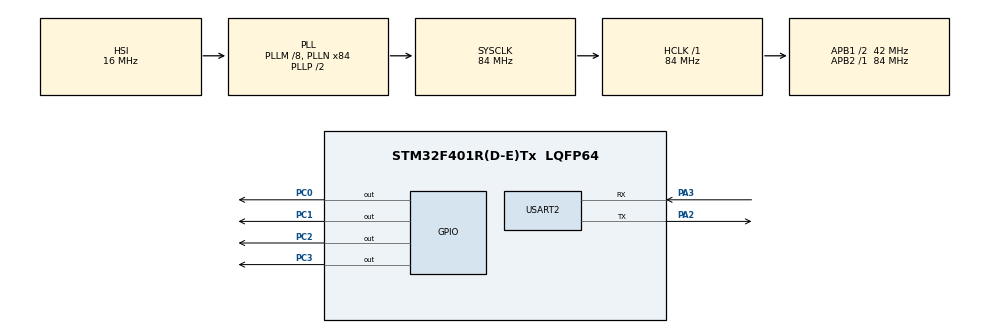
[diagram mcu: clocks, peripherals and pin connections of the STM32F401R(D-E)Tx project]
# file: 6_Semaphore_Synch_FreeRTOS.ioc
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Mcu.Family=STM32F4
Mcu.Name=STM32F401R(D-E)Tx
Mcu.Package=LQFP64
NVIC.PriorityGroup=NVIC_PRIORITYGROUP_4
NVIC.TIM2_IRQn=true\:15\:0\:false\:false\:true\:false\:true\:true
NVIC.TimeBase=TIM2_IRQn
NVIC.TimeBaseIP=TIM2
NVIC.USART2_IRQn=true\:0\:0\:false\:false\:true\:true\:true\:true
PA2.Mode=Asynchronous
PA2.Signal=USART2_TX
PA3.Mode=Asynchronous
PA3.Signal=USART2_RX
PC0.Signal=GPIO_Output
PC1.Signal=GPIO_Output
PC2.Signal=GPIO_Output
PC3.Signal=GPIO_Output
ProjectManager.HeapSize=0x200
ProjectManager.StackSize=0x400
ProjectManager.TargetToolchain=STM32CubeIDE
RCC.48MHZClocksFreq_Value=42000000
RCC.AHBFreq_Value=84000000
RCC.APB1CLKDivider=RCC_HCLK_DIV2
RCC.APB1Freq_Value=42000000
RCC.APB1TimFreq_Value=84000000
RCC.APB2Freq_Value=84000000
RCC.APB2TimFreq_Value=84000000
RCC.CortexFreq_Value=84000000
RCC.HCLKFreq_Value=84000000
RCC.HSE_VALUE=25000000
RCC.HSI_VALUE=16000000
RCC.LSE_VALUE=32768
RCC.PLLM=8
RCC.PLLN=84
RCC.SYSCLKFreq_VALUE=84000000
RCC.SYSCLKSource=RCC_SYSCLKSOURCE_PLLCLK
RCC.VCOOutputFreq_Value=168000000
USART2.VirtualMode=VM_ASYNC
VP_SYS_VS_tim2.Mode=TIM2
board=custom

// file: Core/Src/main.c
/* USER CODE BEGIN Header */
/**
  ******************************************************************************
  * @file           : main.c
  * @brief          : Main program body
  ******************************************************************************
  * @attention
  *
  * Copyright (c) 2023 STMicroelectronics.
  * All rights reserved.
  *
  * This software is licensed under terms that can be found in the LICENSE file
  * in the root directory of this software component.
  * If no LICENSE file comes with this software, it is provided AS-IS.
  *
  ******************************************************************************
  */
/* USER CODE END Header */
#include "main.h"

/* USER CODE BEGIN Includes */
#include "FreeRTOS.h"
#include "task.h"
#include "stdio.h"
#include "semphr.h"
#include "stdlib.h"
#include "string.h"
/* USER CODE END Includes */

UART_HandleTypeDef huart2;

/* USER CODE BEGIN PV */
TaskHandle_t Manager_Handle;
TaskHandle_t Employee_Handle;

SemaphoreHandle_t Binary_Semaphore_Handle;
QueueHandle_t WorkQueue;
#define DWT_CTRL (*(volatile uint32_t*)0xE0001000)
BaseType_t status;
/* USER CODE END PV */

void SystemClock_Config(void);
static void MX_GPIO_Init(void);
static void MX_USART2_UART_Init(void);
/* USER CODE BEGIN PFP */
static void Manager_Handler(void *params);
static void Employee_Handler(void *params);
/* USER CODE END PFP */

int main(void)
{

  /* MCU Configuration--------------------------------------------------------*/

  /* Reset of all peripherals, Initializes the Flash interface and the Systick. */
  HAL_Init();

  /* Configure the system clock */
  SystemClock_Config();

  /* Initialize all configured peripherals */
  MX_GPIO_Init();
  MX_USART2_UART_Init();
  /* USER CODE BEGIN 2 */

  DWT_CTRL |= (1<<0);

  SEGGER_SYSVIEW_Conf();
  vSetVarulMaxPRIGROUPValue();
  SEGGER_SYSVIEW_Start();

/******************************************************/
status = xTaskCreate(Employee_Handler,"Employee Task",configMINIMAL_STACK_SIZE,NULL,2,&Employee_Handle);

configASSERT(status == pdPASS); // Check if it is succesfully created

status = xTaskCreate(Manager_Handler,"Manager",configMINIMAL_STACK_SIZE,NULL,3,&Manager_Handle);

configASSERT(status == pdPASS);  // Check if it is succesfully created

vSemaphoreCreateBinary(Binary_Semaphore_Handle);

WorkQueue = xQueueCreate(1,sizeof(unsigned int));

vTaskStartScheduler();

  /* USER CODE END 2 */

  /* Infinite loop */
  while (1)
  {

  }
}

void SystemClock_Config(void)
{
  RCC_OscInitTypeDef RCC_OscInitStruct = {0};
  RCC_ClkInitTypeDef RCC_ClkInitStruct = {0};

  /** Configure the main internal regulator output voltage
  */
  __HAL_RCC_PWR_CLK_ENABLE();
  __HAL_PWR_VOLTAGESCALING_CONFIG(PWR_REGULATOR_VOLTAGE_SCALE2);

  /** Initializes the RCC Oscillators according to the specified parameters
  * in the RCC_OscInitTypeDef structure.
  */
  RCC_OscInitStruct.OscillatorType = RCC_OSCILLATORTYPE_HSI;
  RCC_OscInitStruct.HSIState = RCC_HSI_ON;
  RCC_OscInitStruct.HSICalibrationValue = RCC_HSICALIBRATION_DEFAULT;
  RCC_OscInitStruct.PLL.PLLState = RCC_PLL_ON;
  RCC_OscInitStruct.PLL.PLLSource = RCC_PLLSOURCE_HSI;
  RCC_OscInitStruct.PLL.PLLM = 8;
  RCC_OscInitStruct.PLL.PLLN = 84;
  RCC_OscInitStruct.PLL.PLLP = RCC_PLLP_DIV2;
  RCC_OscInitStruct.PLL.PLLQ = 4;
  if (HAL_RCC_OscConfig(&RCC_OscInitStruct) != HAL_OK)
  {
    Error_Handler();
  }

  /** Initializes the CPU, AHB and APB buses clocks
  */
  RCC_ClkInitStruct.ClockType = RCC_CLOCKTYPE_HCLK|RCC_CLOCKTYPE_SYSCLK
                              |RCC_CLOCKTYPE_PCLK1|RCC_CLOCKTYPE_PCLK2;
  RCC_ClkInitStruct.SYSCLKSource = RCC_SYSCLKSOURCE_PLLCLK;
  RCC_ClkInitStruct.AHBCLKDivider = RCC_SYSCLK_DIV1;
  RCC_ClkInitStruct.APB1CLKDivider = RCC_HCLK_DIV2;
  RCC_ClkInitStruct.APB2CLKDivider = RCC_HCLK_DIV1;

  if (HAL_RCC_ClockConfig(&RCC_ClkInitStruct, FLASH_LATENCY_2) != HAL_OK)
  {
    Error_Handler();
  }
}

static void MX_USART2_UART_Init(void)
{

  huart2.Instance = USART2;
  huart2.Init.BaudRate = 115200;
  huart2.Init.WordLength = UART_WORDLENGTH_8B;
  huart2.Init.StopBits = UART_STOPBITS_1;
  huart2.Init.Parity = UART_PARITY_NONE;
  huart2.Init.Mode = UART_MODE_TX_RX;
  huart2.Init.HwFlowCtl = UART_HWCONTROL_NONE;
  huart2.Init.OverSampling = UART_OVERSAMPLING_16;
  if (HAL_UART_Init(&huart2) != HAL_OK)
  {
    Error_Handler();
  }

}

static void MX_GPIO_Init(void)
{
  GPIO_InitTypeDef GPIO_InitStruct = {0};

  /* GPIO Ports Clock Enable */
  __HAL_RCC_GPIOC_CLK_ENABLE();
  __HAL_RCC_GPIOA_CLK_ENABLE();

  /*Configure GPIO pin Output Level */
  HAL_GPIO_WritePin(GPIOC, GPIO_PIN_0|GPIO_PIN_1|GPIO_PIN_2|GPIO_PIN_3, GPIO_PIN_RESET);

  /*Configure GPIO pins : PC0 PC1 PC2 PC3 */
  GPIO_InitStruct.Pin = GPIO_PIN_0|GPIO_PIN_1|GPIO_PIN_2|GPIO_PIN_3;
  GPIO_InitStruct.Mode = GPIO_MODE_OUTPUT_PP;
  GPIO_InitStruct.Pull = GPIO_NOPULL;
  GPIO_InitStruct.Speed = GPIO_SPEED_FREQ_LOW;
  HAL_GPIO_Init(GPIOC, &GPIO_InitStruct);

}

/* USER CODE BEGIN 4 */
static void Manager_Handler(void *params)
{
   unsigned int tickedid=0;
	while(1)
	{
		tickedid = rand()%100;
		xQueueSend(WorkQueue,&tickedid,portMAX_DELAY);
		xSemaphoreGive(Binary_Semaphore_Handle);
		vTaskDelay(pdMS_TO_TICKS(1000));

	}

}
static void Employee_Handler(void *params)
{
	unsigned int tickedidreceive;
	char msg[50];

	while(xSemaphoreTake(Binary_Semaphore_Handle,portMAX_DELAY))
	{
       xQueueReceive(WorkQueue,(void*)&tickedidreceive,portMAX_DELAY);
       sprintf(msg,"Generated Number is:%d\r\n",tickedidreceive);
       HAL_UART_Transmit(&huart2,(uint8_t*)msg,strlen(msg),HAL_MAX_DELAY);

	}
}

/* USER CODE END 4 */

void HAL_TIM_PeriodElapsedCallback(TIM_HandleTypeDef *htim)
{
  if (htim->Instance == TIM2) {
    HAL_IncTick();
  }
}

void Error_Handler(void)
{
  __disable_irq();
  while (1)
  {
  }
}
